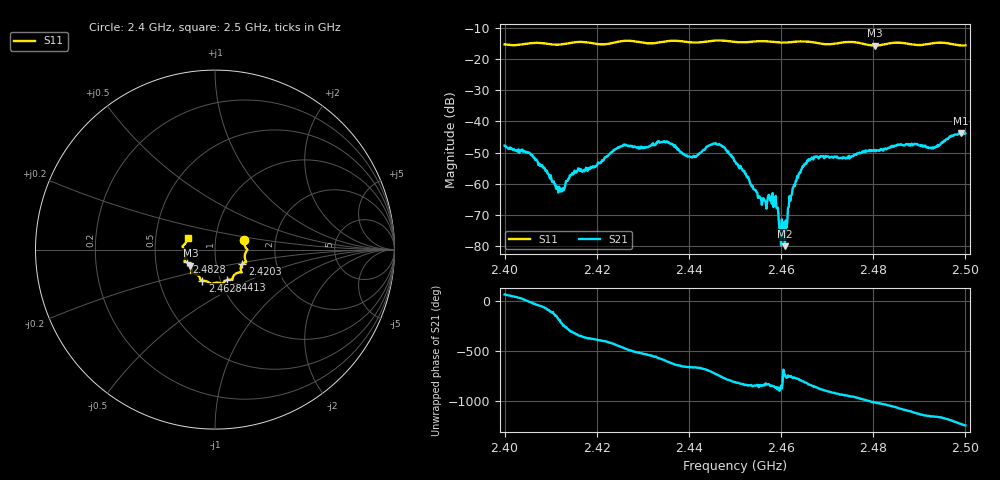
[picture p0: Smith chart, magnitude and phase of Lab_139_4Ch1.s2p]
# Hz S RI R 50
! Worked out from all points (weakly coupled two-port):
!   601 points, 2.4 GHz to 2.5 GHz, reference 50 ohm
!   highest |S21| = -43.82 dB at 2.499 GHz (marker M1); lowest = -80.0 dB at 2.4608 GHz (marker M2)
!   lowest |S11| = -15.7 dB at 2.4803 GHz (marker M3), VSWR 1.39, Z = 37.4 - j6.81 ohm
!   |S11| at or under -10 dB: start of sweep to end of sweep
!   S12 and S22 are empty: the file has one direction only
!   S11 on the Smith chart (normalised r, x): 2.4 GHz: 1.38, +0.15; 2.4203 GHz: 1.34, -0.22; 2.4413 GHz: 1.08, -0.38; 2.4628 GHz: 0.82, -0.29; 2.4828 GHz: 0.72, -0.10; 2.5 GHz: 0.73, +0.10
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2.4e9  0.1624 0.0524  0.00182 0.00365  0 0  0 0
2.4055e9  0.1781 0.00222  0.003 -0.00061  0 0  0 0
2.412e9  0.1658 -0.0365  -0.000761 0.000166  0 0  0 0
2.416667e9  0.1737 -0.0695  0.00164 0.000227  0 0  0 0
2.420333e9  0.1528 -0.0797  0.00183 -0.0012  0 0  0 0
2.425667e9  0.1478 -0.1247  -0.00113 -0.0039  0 0  0 0
2.433333e9  0.1002 -0.1517  -0.00408 0.0026  0 0  0 0
2.441333e9  0.0673 -0.1696  0.00152 0.00228  0 0  0 0
2.446e9  0.042 -0.1924  0.00415 -0.00109  0 0  0 0
2.45e9  0.0246 -0.1851  -3.32e-06 -0.00229  0 0  0 0
2.4555e9  -0.0188 -0.1914  -0.000348 -0.000476  0 0  0 0
2.458333e9  -0.0327 -0.1841  -0.000284 -0.000312  0 0  0 0
2.46e9  -0.0462 -0.1768  -5.93e-05 -8.4e-05  0 0  0 0
2.460833e9  -0.0541 -0.1742  9.6e-05 -2.79e-05  0 0  0 0
2.462833e9  -0.0713 -0.1735  0.000705 -0.000659  0 0  0 0
2.466667e9  -0.0813 -0.1674  -0.00157 -0.00212  0 0  0 0
2.480333e9  -0.137 -0.0886  0.00133 0.0032  0 0  0 0
2.482833e9  -0.1585 -0.0701  0.00254 0.00247  0 0  0 0
2.483333e9  -0.1625 -0.0686  0.003 0.00224  0 0  0 0
2.493e9  -0.1779 0.00966  0.00112 -0.00349  0 0  0 0
2.499e9  -0.1566 0.0498  -0.00544 -0.00345  0 0  0 0
2.5e9  -0.1519 0.0639  -0.00616 -0.00181  0 0  0 0
